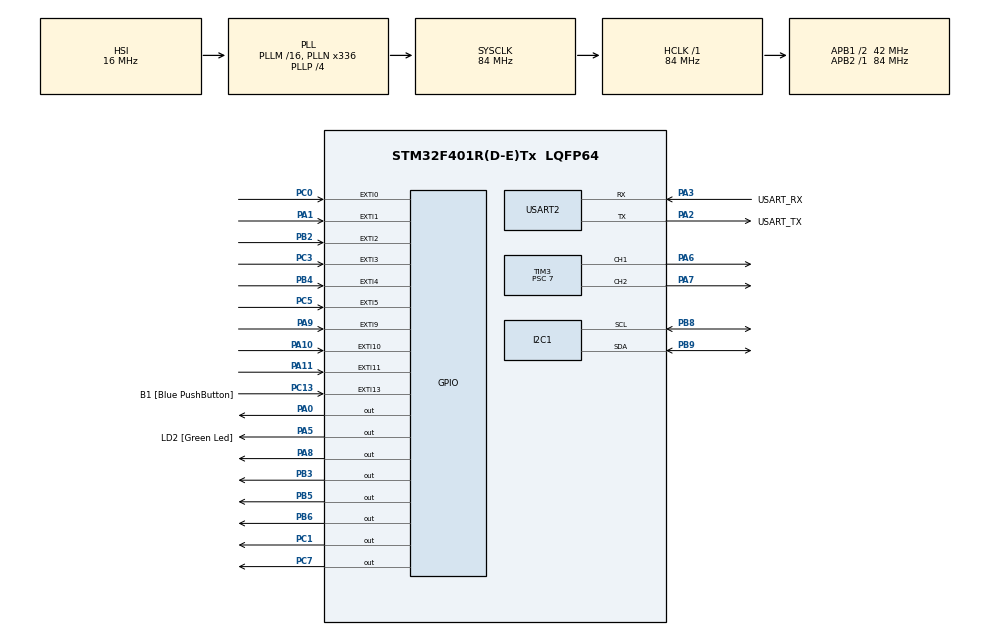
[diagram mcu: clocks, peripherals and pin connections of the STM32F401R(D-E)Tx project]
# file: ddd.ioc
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Mcu.Family=STM32F4
Mcu.Name=STM32F401R(D-E)Tx
Mcu.Package=LQFP64
NVIC.EXTI0_IRQn=true\:0\:0\:false\:true\:true\:6\:true
NVIC.EXTI15_10_IRQn=true\:0\:0\:false\:true\:true\:8\:true
NVIC.EXTI1_IRQn=true\:0\:0\:false\:true\:true\:2\:true
NVIC.EXTI2_IRQn=true\:0\:0\:false\:true\:true\:4\:true
NVIC.EXTI3_IRQn=true\:0\:0\:false\:true\:true\:3\:true
NVIC.EXTI4_IRQn=true\:0\:0\:false\:true\:true\:5\:true
NVIC.EXTI9_5_IRQn=true\:0\:0\:false\:true\:true\:7\:true
NVIC.PriorityGroup=NVIC_PRIORITYGROUP_4
NVIC.TIM1_UP_TIM10_IRQn=true\:0\:0\:false\:true\:true\:1\:true
PA0-WKUP.Signal=GPIO_Output
PA1.GPIO_ModeDefaultEXTI=GPIO_MODE_IT_RISING_FALLING
PA1.Signal=GPXTI1
PA10.GPIO_ModeDefaultEXTI=GPIO_MODE_IT_RISING
PA10.Signal=GPXTI10
PA11.Signal=GPXTI11
PA13.GPIO_Label=TMS
PA13.Mode=Serial_Wire
PA13.Signal=SYS_JTMS-SWDIO
PA14.GPIO_Label=TCK
PA14.Mode=Serial_Wire
PA14.Signal=SYS_JTCK-SWCLK
PA2.GPIO_Label=USART_TX
PA2.GPIO_Mode=GPIO_MODE_AF_PP
PA2.GPIO_PuPd=GPIO_NOPULL
PA2.GPIO_Speed=GPIO_SPEED_FREQ_LOW
PA2.Mode=Asynchronous
PA2.Signal=USART2_TX
PA3.GPIO_Label=USART_RX
PA3.GPIO_Mode=GPIO_MODE_AF_PP
PA3.GPIO_PuPd=GPIO_NOPULL
PA3.GPIO_Speed=GPIO_SPEED_FREQ_LOW
PA3.Mode=Asynchronous
PA3.Signal=USART2_RX
PA5.GPIO_Label=LD2 [Green Led]
PA5.GPIO_Mode=GPIO_MODE_OUTPUT_PP
PA5.GPIO_PuPd=GPIO_NOPULL
PA5.GPIO_Speed=GPIO_SPEED_FREQ_LOW
PA5.Signal=GPIO_Output
PA6.Signal=S_TIM3_CH1
PA7.Signal=S_TIM3_CH2
PA8.Signal=GPIO_Output
PA9.GPIO_ModeDefaultEXTI=GPIO_MODE_IT_RISING
PA9.Signal=GPXTI9
PB2.GPIO_ModeDefaultEXTI=GPIO_MODE_IT_RISING_FALLING
PB2.Signal=GPXTI2
PB3.Signal=GPIO_Output
PB4.GPIO_ModeDefaultEXTI=GPIO_MODE_IT_RISING_FALLING
PB4.Signal=GPXTI4
PB5.Signal=GPIO_Output
PB6.GPIO_Speed=GPIO_SPEED_FREQ_HIGH
PB6.Signal=GPIO_Output
PB8.Mode=I2C
PB8.Signal=I2C1_SCL
PB9.Mode=I2C
PB9.Signal=I2C1_SDA
PC0.GPIO_ModeDefaultEXTI=GPIO_MODE_IT_RISING_FALLING
PC0.Signal=GPXTI0
PC1.Signal=GPIO_Output
PC13-ANTI_TAMP.GPIO_Label=B1 [Blue PushButton]
PC13-ANTI_TAMP.GPIO_ModeDefaultEXTI=GPIO_MODE_IT_FALLING
PC13-ANTI_TAMP.GPIO_PuPd=GPIO_NOPULL
PC13-ANTI_TAMP.Signal=GPXTI13
PC14-OSC32_IN.Mode=LSE-External-Oscillator
PC14-OSC32_IN.Signal=RCC_OSC32_IN
PC15-OSC32_OUT.Mode=LSE-External-Oscillator
PC15-OSC32_OUT.Signal=RCC_OSC32_OUT
PC3.GPIO_ModeDefaultEXTI=GPIO_MODE_IT_RISING
PC3.Signal=GPXTI3
PC5.GPIO_ModeDefaultEXTI=GPIO_MODE_IT_RISING
PC5.Signal=GPXTI5
PC7.PinState=GPIO_PIN_SET
PC7.Signal=GPIO_Output
PH0\ -\ OSC_IN.Mode=HSE-External-Clock-Source
PH0\ -\ OSC_IN.Signal=RCC_OSC_IN
PH1\ -\ OSC_OUT.Mode=HSE-External-Clock-Source
PH1\ -\ OSC_OUT.Signal=RCC_OSC_OUT
ProjectManager.HeapSize=0x200
ProjectManager.StackSize=0x400
ProjectManager.TargetToolchain=TrueSTUDIO
RCC.48MHZClocksFreq_Value=48000000
RCC.AHBFreq_Value=84000000
RCC.APB1CLKDivider=RCC_HCLK_DIV2
RCC.APB1Freq_Value=42000000
RCC.APB1TimFreq_Value=84000000
RCC.APB2Freq_Value=84000000
RCC.APB2TimFreq_Value=84000000
RCC.CortexFreq_Value=84000000
RCC.HCLKFreq_Value=84000000
RCC.HSE_VALUE=8000000
RCC.HSI_VALUE=16000000
RCC.PLLN=336
RCC.PLLP=RCC_PLLP_DIV4
RCC.PLLQ=7
RCC.SYSCLKFreq_VALUE=84000000
RCC.SYSCLKSource=RCC_SYSCLKSOURCE_PLLCLK
RCC.VCOOutputFreq_Value=336000000
SH.S_TIM3_CH1.0=TIM3_CH1,PWM Generation1 CH1
SH.S_TIM3_CH2.0=TIM3_CH2,PWM Generation2 CH2
TIM1.Period=10000
TIM1.Prescaler=8400
TIM2.Period=4294967295
TIM2.Prescaler=840
TIM3.Channel-PWM\ Generation1\ CH1=TIM_CHANNEL_1
TIM3.Channel-PWM\ Generation2\ CH2=TIM_CHANNEL_2
TIM3.OCPolarity_1=TIM_OCPOLARITY_HIGH
TIM3.OCPolarity_2=TIM_OCPOLARITY_HIGH
TIM3.Period=4000
TIM3.Prescaler=7
TIM3.Pulse-PWM\ Generation1\ CH1=2000
TIM3.Pulse-PWM\ Generation2\ CH2=2000
TIM4.Period=65535
TIM4.Prescaler=840
TIM5.Period=4294967295
TIM5.Prescaler=840
USART2.VirtualMode=VM_ASYNC
VP_TIM1_VS_ClockSourceINT.Mode=Internal
VP_TIM2_VS_ClockSourceINT.Mode=Internal
VP_TIM3_VS_ClockSourceINT.Mode=Internal
VP_TIM4_VS_ClockSourceINT.Mode=Internal
VP_TIM5_VS_ClockSourceINT.Mode=Internal
board=NUCLEO-F401RE

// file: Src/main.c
/**
  ******************************************************************************
  * @file           : main.c
  * @brief          : Main program body
  ******************************************************************************
  ** This notice applies to any and all portions of this file
  * that are not between comment pairs USER CODE BEGIN and
  * USER CODE END. Other portions of this file, whether
  * inserted by the user or by software development tools
  * are owned by their respective copyright owners.
  *
  * COPYRIGHT(c) 2018 STMicroelectronics
  *
  * Redistribution and use in source and binary forms, with or without modification,
  * are permitted provided that the following conditions are met:
  *   1. Redistributions of source code must retain the above copyright notice,
  *      this list of conditions and the following disclaimer.
  *   2. Redistributions in binary form must reproduce the above copyright notice,
  *      this list of conditions and the following disclaimer in the documentation
  *      and/or other materials provided with the distribution.
  *   3. Neither the name of STMicroelectronics nor the names of its contributors
  *      may be used to endorse or promote products derived from this software
  *      without specific prior written permission.
  *
  * THIS SOFTWARE IS PROVIDED BY THE COPYRIGHT HOLDERS AND CONTRIBUTORS "AS IS"
  * AND ANY EXPRESS OR IMPLIED WARRANTIES, INCLUDING, BUT NOT LIMITED TO, THE
  * IMPLIED WARRANTIES OF MERCHANTABILITY AND FITNESS FOR A PARTICULAR PURPOSE ARE
  * DISCLAIMED. IN NO EVENT SHALL THE COPYRIGHT HOLDER OR CONTRIBUTORS BE LIABLE
  * FOR ANY DIRECT, INDIRECT, INCIDENTAL, SPECIAL, EXEMPLARY, OR CONSEQUENTIAL
  * DAMAGES (INCLUDING, BUT NOT LIMITED TO, PROCUREMENT OF SUBSTITUTE GOODS OR
  * SERVICES; LOSS OF USE, DATA, OR PROFITS; OR BUSINESS INTERRUPTION) HOWEVER
  * CAUSED AND ON ANY THEORY OF LIABILITY, WHETHER IN CONTRACT, STRICT LIABILITY,
  * OR TORT (INCLUDING NEGLIGENCE OR OTHERWISE) ARISING IN ANY WAY OUT OF THE USE
  * OF THIS SOFTWARE, EVEN IF ADVISED OF THE POSSIBILITY OF SUCH DAMAGE.
  *
  ******************************************************************************
  */
#include "main.h"
#include "stm32f4xx_hal.h"

/* USER CODE BEGIN Includes */
#include "arm_math.h"
#include "movement.h"
#define MAG_ADDR 0x3C
#define ACC_ADDR 0x32
#define CRA_REG_M 0x00
#define MR_REG_M 0x02
#define CTRL_REG1_A 0x20
#define CTRL_REG4_A 0x23
/* USER CODE END Includes */

I2C_HandleTypeDef hi2c1;

TIM_HandleTypeDef htim1;
TIM_HandleTypeDef htim2;
TIM_HandleTypeDef htim3;
TIM_HandleTypeDef htim4;
TIM_HandleTypeDef htim5;

UART_HandleTypeDef huart2;

/* USER CODE BEGIN PV */
/* Private variables ---------------------------------------------------------*/
unsigned char temp;
int8_t MR_Data[6];
int Mx, My, Mz;
double dir;
uint16_t mag_dev_addr=0x3C;
uint8_t mag_reg_add=0x02;
volatile float dist0,dist1,dist4;
volatile uint32_t count;
uint32_t vari;
volatile uint8_t attac=1;
extern uint8_t turning;
int fake_flag=0,fake_timer;
volatile uint8_t avoidance_on=1;
/* USER CODE END PV */

void SystemClock_Config(void);
static void MX_GPIO_Init(void);
static void MX_USART2_UART_Init(void);
static void MX_I2C1_Init(void);
static void MX_TIM3_Init(void);
static void MX_TIM1_Init(void);
static void MX_TIM2_Init(void);
static void MX_TIM4_Init(void);
static void MX_TIM5_Init(void);
static void MX_NVIC_Init(void);

void HAL_TIM_MspPostInit(TIM_HandleTypeDef *htim);

/* USER CODE BEGIN PFP */
/* Private function prototypes -----------------------------------------------*/
void read_reg_I2C(uint16_t dev_addr,uint8_t addr, uint8_t *data){
	HAL_I2C_Master_Transmit(&hi2c1,dev_addr,&addr,1,HAL_MAX_DELAY);
	HAL_I2C_Master_Receive(&hi2c1,dev_addr,data,sizeof(data),HAL_MAX_DELAY);
}

void write_reg_I2C(uint16_t dev_addr,uint8_t addr,uint8_t data){
	uint8_t buffer[2];
	buffer[0]=addr;
	buffer[1]=data;
	HAL_I2C_Master_Transmit(&hi2c1,dev_addr,buffer,2,HAL_MAX_DELAY);
}

void set_mag(void){
	write_reg_I2C(0x3C,0x00,0x14);
	write_reg_I2C(0x3C,0x02,0x00);
	  //write_reg_I2C(0x3C,0x01,0xE0);
}

void get_mag(void){
	HAL_I2C_Master_Transmit(&hi2c1,0x3C,&mag_reg_add,1,HAL_MAX_DELAY);
	HAL_I2C_Master_Receive(&hi2c1,0x3C,&temp,1,HAL_MAX_DELAY);
	HAL_I2C_Master_Receive(&hi2c1,0x3C,MR_Data,sizeof(MR_Data),HAL_MAX_DELAY);

	Mx = (int) (MR_Data[0] << 8) + MR_Data[1];
	My = (int) (MR_Data[2] << 8) + MR_Data[3];
	Mz = (int) (MR_Data[4] << 8) + MR_Data[5];
	dir=180* atan2((double) My,(double) Mx)/M_PI;
}

void set_pwm_ch1(int value){
	TIM_OC_InitTypeDef sConfigOC;
	sConfigOC.OCMode = TIM_OCMODE_PWM1;
	sConfigOC.Pulse = value;
	sConfigOC.OCPolarity = TIM_OCPOLARITY_HIGH;
	sConfigOC.OCFastMode = TIM_OCFAST_DISABLE;
	if (HAL_TIM_PWM_ConfigChannel(&htim3, &sConfigOC, TIM_CHANNEL_1) != HAL_OK)
	{
	  _Error_Handler(__FILE__, __LINE__);
	}
	HAL_TIM_PWM_Start(&htim3, TIM_CHANNEL_1);
}

void set_pwm_ch2(int value){
	TIM_OC_InitTypeDef sConfigOC;

	sConfigOC.OCMode = TIM_OCMODE_PWM1;
	sConfigOC.Pulse = value;
	sConfigOC.OCPolarity = TIM_OCPOLARITY_HIGH;
	sConfigOC.OCFastMode = TIM_OCFAST_DISABLE;
	if (HAL_TIM_PWM_ConfigChannel(&htim3, &sConfigOC, TIM_CHANNEL_2) != HAL_OK)
	{
	  _Error_Handler(__FILE__, __LINE__);
	}
	HAL_TIM_PWM_Start(&htim3, TIM_CHANNEL_2);
}

void send_sonar_pulse(void){

	HAL_GPIO_WritePin(GPIOA,GPIO_PIN_0,GPIO_PIN_SET); //positive edge of pulse
	__HAL_TIM_SET_COUNTER(&htim2,0); //set counter to 0
	HAL_TIM_Base_Start(&htim2); //start counter, maybe not needed?
	while(1){
		if(__HAL_TIM_GET_COUNTER(&htim2)==1){ //timer is prescaled so that 1 count is 10us
			HAL_GPIO_WritePin(GPIOA,GPIO_PIN_0,GPIO_PIN_RESET); //pulse negative edge
			HAL_TIM_Base_Stop(&htim2);
			break;
		}
	}
	HAL_NVIC_EnableIRQ(EXTI1_IRQn);

}

void send_sonar_pulse2(void){

	HAL_GPIO_WritePin(GPIOA,GPIO_PIN_8,GPIO_PIN_SET); //positive edge of pulse
	__HAL_TIM_SET_COUNTER(&htim4,0); //set counter to 0
	HAL_TIM_Base_Start(&htim4); //start counter, maybe not needed?
	while(1){
		if(__HAL_TIM_GET_COUNTER(&htim4)==1){ //timer is prescaled so that 1 count is 10us
			HAL_GPIO_WritePin(GPIOA,GPIO_PIN_8,GPIO_PIN_RESET); //pulse negative edge
			HAL_TIM_Base_Stop(&htim4);
			break;
		}
	}
	HAL_NVIC_EnableIRQ(EXTI4_IRQn);
}

void send_sonar_pulse3(void){

	HAL_GPIO_WritePin(GPIOC,GPIO_PIN_1,GPIO_PIN_SET); //positive edge of pulse
	__HAL_TIM_SET_COUNTER(&htim5,0); //set counter to 0
	HAL_TIM_Base_Start(&htim5); //start counter, maybe not needed?
	while(1){
		if(__HAL_TIM_GET_COUNTER(&htim5)==1){ //timer is prescaled so that 1 count is 10us
			HAL_GPIO_WritePin(GPIOC,GPIO_PIN_1,GPIO_PIN_RESET); //pulse negative edge
			HAL_TIM_Base_Stop(&htim5);
			break;
		}
	}
	HAL_NVIC_EnableIRQ(EXTI0_IRQn);
}

/* USER CODE END PFP */

int main(void)
{

  /* MCU Configuration----------------------------------------------------------*/

  /* Reset of all peripherals, Initializes the Flash interface and the Systick. */
  HAL_Init();

  /* Configure the system clock */
  SystemClock_Config();

  /* Initialize all configured peripherals */
  MX_GPIO_Init();
  MX_USART2_UART_Init();
  MX_I2C1_Init();
  MX_TIM3_Init();
  MX_TIM1_Init();
  MX_TIM2_Init();
  MX_TIM4_Init();
  MX_TIM5_Init();

  /* Initialize interrupts */
  MX_NVIC_Init();
  /* USER CODE BEGIN 2 */
  HAL_NVIC_DisableIRQ(EXTI0_IRQn);//sonar
  HAL_NVIC_DisableIRQ(EXTI1_IRQn);//sonar
  HAL_NVIC_DisableIRQ(EXTI4_IRQn);//sonar

  HAL_NVIC_DisableIRQ(EXTI2_IRQn);//photodiode

  HAL_NVIC_DisableIRQ(EXTI3_IRQn);//photodiode
  HAL_NVIC_DisableIRQ(EXTI9_5_IRQn);//photodiode
  HAL_NVIC_DisableIRQ(EXTI15_10_IRQn);//photodiode

  //HAL_NVIC_EnableIRQ(EXTI2_IRQn);//photodiode
  HAL_NVIC_EnableIRQ(EXTI3_IRQn);//photodiode
  HAL_NVIC_EnableIRQ(EXTI9_5_IRQn);//photodiode
  HAL_NVIC_EnableIRQ(EXTI15_10_IRQn);//photodiode
//  set_mag(); //setup compass through I2C
  /* USER CODE END 2 */

  /* Infinite loop */
  /* USER CODE BEGIN WHILE */
  HAL_TIM_PWM_Start(&htim3, TIM_CHANNEL_1); //start pwm
  HAL_TIM_PWM_Start(&htim3, TIM_CHANNEL_2); //start pwm
//  if( HAL_TIM_Base_Start_IT(&htim1) != HAL_OK){
//	  _Error_Handler(__FILE__, __LINE__);
//  }
  set_pwm_ch1(3000);
  set_pwm_ch2(3000);
  HAL_GPIO_WritePin(GPIOC,GPIO_PIN_7,GPIO_PIN_RESET);
  HAL_GPIO_WritePin(GPIOB,GPIO_PIN_6,GPIO_PIN_RESET);
  turning=0;
  dist0=10;
  dist1=10;
  dist4=10;

  while (1)
  {
//	  fire();
//	  get_mag(); //get data from compass through I2C
//	  HAL_UART_Transmit(&huart2,MR_Data,sizeof(MR_Data),HAL_TIMEOUT); // send data to PC

	  send_sonar_pulse2();
	  HAL_Delay(10);
	  send_sonar_pulse();
	  HAL_Delay(10);
	  send_sonar_pulse3();
	  HAL_Delay(10);

	  if (avoidance_on){
		  avoid();
	  }
	  else{
		  check_fire();
	  }
//	  check_fire();
//	  fake_timer++;
//	  if(fake_timer>=200){
//		  fake_flag=1;
//	  }

	  //HAL_GPIO_TogglePin(GPIOA,LD2_Pin);

//	  if(HAL_GPIO_ReadPin(GPIOC,GPIO_PIN_3)==GPIO_PIN_SET){
//		  HAL_GPIO_WritePin(GPIOA,LD2_Pin,GPIO_PIN_SET);
//	  }
//	  else{
//		  HAL_GPIO_WritePin(GPIOA,LD2_Pin,GPIO_PIN_RESET);
//	  }

	  //HAL_GPIO_TogglePin(GPIOA,LD2_Pin);
  /* USER CODE END WHILE */

  }

}

void SystemClock_Config(void)
{

  RCC_OscInitTypeDef RCC_OscInitStruct;
  RCC_ClkInitTypeDef RCC_ClkInitStruct;

    /**Configure the main internal regulator output voltage
    */
  __HAL_RCC_PWR_CLK_ENABLE();

  __HAL_PWR_VOLTAGESCALING_CONFIG(PWR_REGULATOR_VOLTAGE_SCALE2);

    /**Initializes the CPU, AHB and APB busses clocks
    */
  RCC_OscInitStruct.OscillatorType = RCC_OSCILLATORTYPE_HSI;
  RCC_OscInitStruct.HSIState = RCC_HSI_ON;
  RCC_OscInitStruct.HSICalibrationValue = 16;
  RCC_OscInitStruct.PLL.PLLState = RCC_PLL_ON;
  RCC_OscInitStruct.PLL.PLLSource = RCC_PLLSOURCE_HSI;
  RCC_OscInitStruct.PLL.PLLM = 16;
  RCC_OscInitStruct.PLL.PLLN = 336;
  RCC_OscInitStruct.PLL.PLLP = RCC_PLLP_DIV4;
  RCC_OscInitStruct.PLL.PLLQ = 7;
  if (HAL_RCC_OscConfig(&RCC_OscInitStruct) != HAL_OK)
  {
    _Error_Handler(__FILE__, __LINE__);
  }

    /**Initializes the CPU, AHB and APB busses clocks
    */
  RCC_ClkInitStruct.ClockType = RCC_CLOCKTYPE_HCLK|RCC_CLOCKTYPE_SYSCLK
                              |RCC_CLOCKTYPE_PCLK1|RCC_CLOCKTYPE_PCLK2;
  RCC_ClkInitStruct.SYSCLKSource = RCC_SYSCLKSOURCE_PLLCLK;
  RCC_ClkInitStruct.AHBCLKDivider = RCC_SYSCLK_DIV1;
  RCC_ClkInitStruct.APB1CLKDivider = RCC_HCLK_DIV2;
  RCC_ClkInitStruct.APB2CLKDivider = RCC_HCLK_DIV1;

  if (HAL_RCC_ClockConfig(&RCC_ClkInitStruct, FLASH_LATENCY_2) != HAL_OK)
  {
    _Error_Handler(__FILE__, __LINE__);
  }

    /**Configure the Systick interrupt time
    */
  HAL_SYSTICK_Config(HAL_RCC_GetHCLKFreq()/1000);

    /**Configure the Systick
    */
  HAL_SYSTICK_CLKSourceConfig(SYSTICK_CLKSOURCE_HCLK);

  /* SysTick_IRQn interrupt configuration */
  HAL_NVIC_SetPriority(SysTick_IRQn, 0, 0);
}

/**
  * @brief NVIC Configuration.
  * @retval None
  */
static void MX_NVIC_Init(void)
{
  /* TIM1_UP_TIM10_IRQn interrupt configuration */
  HAL_NVIC_SetPriority(TIM1_UP_TIM10_IRQn, 0, 0);
  HAL_NVIC_EnableIRQ(TIM1_UP_TIM10_IRQn);
  /* EXTI1_IRQn interrupt configuration */
  HAL_NVIC_SetPriority(EXTI1_IRQn, 0, 0);
  HAL_NVIC_EnableIRQ(EXTI1_IRQn);
  /* EXTI3_IRQn interrupt configuration */
  HAL_NVIC_SetPriority(EXTI3_IRQn, 0, 0);
  HAL_NVIC_EnableIRQ(EXTI3_IRQn);
  /* EXTI2_IRQn interrupt configuration */
  HAL_NVIC_SetPriority(EXTI2_IRQn, 0, 0);
  HAL_NVIC_EnableIRQ(EXTI2_IRQn);
  /* EXTI4_IRQn interrupt configuration */
  HAL_NVIC_SetPriority(EXTI4_IRQn, 0, 0);
  HAL_NVIC_EnableIRQ(EXTI4_IRQn);
  /* EXTI0_IRQn interrupt configuration */
  HAL_NVIC_SetPriority(EXTI0_IRQn, 0, 0);
  HAL_NVIC_EnableIRQ(EXTI0_IRQn);
  /* EXTI9_5_IRQn interrupt configuration */
  HAL_NVIC_SetPriority(EXTI9_5_IRQn, 0, 0);
  HAL_NVIC_EnableIRQ(EXTI9_5_IRQn);
  /* EXTI15_10_IRQn interrupt configuration */
  HAL_NVIC_SetPriority(EXTI15_10_IRQn, 0, 0);
  HAL_NVIC_EnableIRQ(EXTI15_10_IRQn);
}

/* I2C1 init function */
static void MX_I2C1_Init(void)
{

  hi2c1.Instance = I2C1;
  hi2c1.Init.ClockSpeed = 100000;
  hi2c1.Init.DutyCycle = I2C_DUTYCYCLE_2;
  hi2c1.Init.OwnAddress1 = 0;
  hi2c1.Init.AddressingMode = I2C_ADDRESSINGMODE_7BIT;
  hi2c1.Init.DualAddressMode = I2C_DUALADDRESS_DISABLE;
  hi2c1.Init.OwnAddress2 = 0;
  hi2c1.Init.GeneralCallMode = I2C_GENERALCALL_DISABLE;
  hi2c1.Init.NoStretchMode = I2C_NOSTRETCH_DISABLE;
  if (HAL_I2C_Init(&hi2c1) != HAL_OK)
  {
    _Error_Handler(__FILE__, __LINE__);
  }

}

/* TIM1 init function */
static void MX_TIM1_Init(void)
{

  TIM_ClockConfigTypeDef sClockSourceConfig;
  TIM_MasterConfigTypeDef sMasterConfig;

  htim1.Instance = TIM1;
  htim1.Init.Prescaler = 8400;
  htim1.Init.CounterMode = TIM_COUNTERMODE_UP;
  htim1.Init.Period = 10000;
  htim1.Init.ClockDivision = TIM_CLOCKDIVISION_DIV1;
  htim1.Init.RepetitionCounter = 0;
  if (HAL_TIM_Base_Init(&htim1) != HAL_OK)
  {
    _Error_Handler(__FILE__, __LINE__);
  }

  sClockSourceConfig.ClockSource = TIM_CLOCKSOURCE_INTERNAL;
  if (HAL_TIM_ConfigClockSource(&htim1, &sClockSourceConfig) != HAL_OK)
  {
    _Error_Handler(__FILE__, __LINE__);
  }

  sMasterConfig.MasterOutputTrigger = TIM_TRGO_RESET;
  sMasterConfig.MasterSlaveMode = TIM_MASTERSLAVEMODE_DISABLE;
  if (HAL_TIMEx_MasterConfigSynchronization(&htim1, &sMasterConfig) != HAL_OK)
  {
    _Error_Handler(__FILE__, __LINE__);
  }

}

/* TIM2 init function */
static void MX_TIM2_Init(void)
{

  TIM_ClockConfigTypeDef sClockSourceConfig;
  TIM_MasterConfigTypeDef sMasterConfig;

  htim2.Instance = TIM2;
  htim2.Init.Prescaler = 840;
  htim2.Init.CounterMode = TIM_COUNTERMODE_UP;
  htim2.Init.Period = 4294967295;
  htim2.Init.ClockDivision = TIM_CLOCKDIVISION_DIV1;
  if (HAL_TIM_Base_Init(&htim2) != HAL_OK)
  {
    _Error_Handler(__FILE__, __LINE__);
  }

  sClockSourceConfig.ClockSource = TIM_CLOCKSOURCE_INTERNAL;
  if (HAL_TIM_ConfigClockSource(&htim2, &sClockSourceConfig) != HAL_OK)
  {
    _Error_Handler(__FILE__, __LINE__);
  }

  sMasterConfig.MasterOutputTrigger = TIM_TRGO_RESET;
  sMasterConfig.MasterSlaveMode = TIM_MASTERSLAVEMODE_DISABLE;
  if (HAL_TIMEx_MasterConfigSynchronization(&htim2, &sMasterConfig) != HAL_OK)
  {
    _Error_Handler(__FILE__, __LINE__);
  }

}

/* TIM3 init function */
static void MX_TIM3_Init(void)
{

  TIM_ClockConfigTypeDef sClockSourceConfig;
  TIM_MasterConfigTypeDef sMasterConfig;
  TIM_OC_InitTypeDef sConfigOC;

  htim3.Instance = TIM3;
  htim3.Init.Prescaler = 7;
  htim3.Init.CounterMode = TIM_COUNTERMODE_UP;
  htim3.Init.Period = 4000;
  htim3.Init.ClockDivision = TIM_CLOCKDIVISION_DIV1;
  if (HAL_TIM_Base_Init(&htim3) != HAL_OK)
  {
    _Error_Handler(__FILE__, __LINE__);
  }

  sClockSourceConfig.ClockSource = TIM_CLOCKSOURCE_INTERNAL;
  if (HAL_TIM_ConfigClockSource(&htim3, &sClockSourceConfig) != HAL_OK)
  {
    _Error_Handler(__FILE__, __LINE__);
  }

  if (HAL_TIM_PWM_Init(&htim3) != HAL_OK)
  {
    _Error_Handler(__FILE__, __LINE__);
  }

  sMasterConfig.MasterOutputTrigger = TIM_TRGO_RESET;
  sMasterConfig.MasterSlaveMode = TIM_MASTERSLAVEMODE_DISABLE;
  if (HAL_TIMEx_MasterConfigSynchronization(&htim3, &sMasterConfig) != HAL_OK)
  {
    _Error_Handler(__FILE__, __LINE__);
  }

  sConfigOC.OCMode = TIM_OCMODE_PWM1;
  sConfigOC.Pulse = 2000;
  sConfigOC.OCPolarity = TIM_OCPOLARITY_HIGH;
  sConfigOC.OCFastMode = TIM_OCFAST_DISABLE;
  if (HAL_TIM_PWM_ConfigChannel(&htim3, &sConfigOC, TIM_CHANNEL_1) != HAL_OK)
  {
    _Error_Handler(__FILE__, __LINE__);
  }

  if (HAL_TIM_PWM_ConfigChannel(&htim3, &sConfigOC, TIM_CHANNEL_2) != HAL_OK)
  {
    _Error_Handler(__FILE__, __LINE__);
  }

  HAL_TIM_MspPostInit(&htim3);

}

/* TIM4 init function */
static void MX_TIM4_Init(void)
{

  TIM_ClockConfigTypeDef sClockSourceConfig;
  TIM_MasterConfigTypeDef sMasterConfig;

  htim4.Instance = TIM4;
  htim4.Init.Prescaler = 840;
  htim4.Init.CounterMode = TIM_COUNTERMODE_UP;
  htim4.Init.Period = 65535;
  htim4.Init.ClockDivision = TIM_CLOCKDIVISION_DIV1;
  if (HAL_TIM_Base_Init(&htim4) != HAL_OK)
  {
    _Error_Handler(__FILE__, __LINE__);
  }

  sClockSourceConfig.ClockSource = TIM_CLOCKSOURCE_INTERNAL;
  if (HAL_TIM_ConfigClockSource(&htim4, &sClockSourceConfig) != HAL_OK)
  {
    _Error_Handler(__FILE__, __LINE__);
  }

  sMasterConfig.MasterOutputTrigger = TIM_TRGO_RESET;
  sMasterConfig.MasterSlaveMode = TIM_MASTERSLAVEMODE_DISABLE;
  if (HAL_TIMEx_MasterConfigSynchronization(&htim4, &sMasterConfig) != HAL_OK)
  {
    _Error_Handler(__FILE__, __LINE__);
  }

}

/* TIM5 init function */
static void MX_TIM5_Init(void)
{

  TIM_ClockConfigTypeDef sClockSourceConfig;
  TIM_MasterConfigTypeDef sMasterConfig;

  htim5.Instance = TIM5;
  htim5.Init.Prescaler = 840;
  htim5.Init.CounterMode = TIM_COUNTERMODE_UP;
  htim5.Init.Period = 4294967295;
  htim5.Init.ClockDivision = TIM_CLOCKDIVISION_DIV1;
  if (HAL_TIM_Base_Init(&htim5) != HAL_OK)
  {
    _Error_Handler(__FILE__, __LINE__);
  }

  sClockSourceConfig.ClockSource = TIM_CLOCKSOURCE_INTERNAL;
  if (HAL_TIM_ConfigClockSource(&htim5, &sClockSourceConfig) != HAL_OK)
  {
    _Error_Handler(__FILE__, __LINE__);
  }

  sMasterConfig.MasterOutputTrigger = TIM_TRGO_RESET;
  sMasterConfig.MasterSlaveMode = TIM_MASTERSLAVEMODE_DISABLE;
  if (HAL_TIMEx_MasterConfigSynchronization(&htim5, &sMasterConfig) != HAL_OK)
  {
    _Error_Handler(__FILE__, __LINE__);
  }

}

/* USART2 init function */
static void MX_USART2_UART_Init(void)
{

  huart2.Instance = USART2;
  huart2.Init.BaudRate = 115200;
  huart2.Init.WordLength = UART_WORDLENGTH_8B;
  huart2.Init.StopBits = UART_STOPBITS_1;
  huart2.Init.Parity = UART_PARITY_NONE;
  huart2.Init.Mode = UART_MODE_TX_RX;
  huart2.Init.HwFlowCtl = UART_HWCONTROL_NONE;
  huart2.Init.OverSampling = UART_OVERSAMPLING_16;
  if (HAL_UART_Init(&huart2) != HAL_OK)
  {
    _Error_Handler(__FILE__, __LINE__);
  }

}

/** Configure pins as
        * Analog
        * Input
        * Output
        * EVENT_OUT
        * EXTI
*/
static void MX_GPIO_Init(void)
{

  GPIO_InitTypeDef GPIO_InitStruct;

  /* GPIO Ports Clock Enable */
  __HAL_RCC_GPIOC_CLK_ENABLE();
  __HAL_RCC_GPIOH_CLK_ENABLE();
  __HAL_RCC_GPIOA_CLK_ENABLE();
  __HAL_RCC_GPIOB_CLK_ENABLE();

  /*Configure GPIO pin Output Level */
  HAL_GPIO_WritePin(GPIOC, GPIO_PIN_1, GPIO_PIN_RESET);

  /*Configure GPIO pin Output Level */
  HAL_GPIO_WritePin(GPIOA, GPIO_PIN_0|LD2_Pin|GPIO_PIN_8, GPIO_PIN_RESET);

  /*Configure GPIO pin Output Level */
  HAL_GPIO_WritePin(GPIOC, GPIO_PIN_7, GPIO_PIN_SET);

  /*Configure GPIO pin Output Level */
  HAL_GPIO_WritePin(GPIOB, GPIO_PIN_3|GPIO_PIN_5|GPIO_PIN_6, GPIO_PIN_RESET);

  /*Configure GPIO pin : B1_Pin */
  GPIO_InitStruct.Pin = B1_Pin;
  GPIO_InitStruct.Mode = GPIO_MODE_IT_FALLING;
  GPIO_InitStruct.Pull = GPIO_NOPULL;
  HAL_GPIO_Init(B1_GPIO_Port, &GPIO_InitStruct);

  /*Configure GPIO pin : PC0 */
  GPIO_InitStruct.Pin = GPIO_PIN_0;
  GPIO_InitStruct.Mode = GPIO_MODE_IT_RISING_FALLING;
  GPIO_InitStruct.Pull = GPIO_NOPULL;
  HAL_GPIO_Init(GPIOC, &GPIO_InitStruct);

  /*Configure GPIO pins : PC1 PC7 */
  GPIO_InitStruct.Pin = GPIO_PIN_1|GPIO_PIN_7;
  GPIO_InitStruct.Mode = GPIO_MODE_OUTPUT_PP;
  GPIO_InitStruct.Pull = GPIO_NOPULL;
  GPIO_InitStruct.Speed = GPIO_SPEED_FREQ_LOW;
  HAL_GPIO_Init(GPIOC, &GPIO_InitStruct);

  /*Configure GPIO pins : PC3 PC5 */
  GPIO_InitStruct.Pin = GPIO_PIN_3|GPIO_PIN_5;
  GPIO_InitStruct.Mode = GPIO_MODE_IT_RISING;
  GPIO_InitStruct.Pull = GPIO_NOPULL;
  HAL_GPIO_Init(GPIOC, &GPIO_InitStruct);

  /*Configure GPIO pins : PA0 LD2_Pin PA8 */
  GPIO_InitStruct.Pin = GPIO_PIN_0|LD2_Pin|GPIO_PIN_8;
  GPIO_InitStruct.Mode = GPIO_MODE_OUTPUT_PP;
  GPIO_InitStruct.Pull = GPIO_NOPULL;
  GPIO_InitStruct.Speed = GPIO_SPEED_FREQ_LOW;
  HAL_GPIO_Init(GPIOA, &GPIO_InitStruct);

  /*Configure GPIO pin : PA1 */
  GPIO_InitStruct.Pin = GPIO_PIN_1;
  GPIO_InitStruct.Mode = GPIO_MODE_IT_RISING_FALLING;
  GPIO_InitStruct.Pull = GPIO_NOPULL;
  HAL_GPIO_Init(GPIOA, &GPIO_InitStruct);

  /*Configure GPIO pins : PB2 PB4 */
  GPIO_InitStruct.Pin = GPIO_PIN_2|GPIO_PIN_4;
  GPIO_InitStruct.Mode = GPIO_MODE_IT_RISING_FALLING;
  GPIO_InitStruct.Pull = GPIO_NOPULL;
  HAL_GPIO_Init(GPIOB, &GPIO_InitStruct);

  /*Configure GPIO pins : PA9 PA10 PA11 */
  GPIO_InitStruct.Pin = GPIO_PIN_9|GPIO_PIN_10|GPIO_PIN_11;
  GPIO_InitStruct.Mode = GPIO_MODE_IT_RISING;
  GPIO_InitStruct.Pull = GPIO_NOPULL;
  HAL_GPIO_Init(GPIOA, &GPIO_InitStruct);

  /*Configure GPIO pins : PB3 PB5 */
  GPIO_InitStruct.Pin = GPIO_PIN_3|GPIO_PIN_5;
  GPIO_InitStruct.Mode = GPIO_MODE_OUTPUT_PP;
  GPIO_InitStruct.Pull = GPIO_NOPULL;
  GPIO_InitStruct.Speed = GPIO_SPEED_FREQ_LOW;
  HAL_GPIO_Init(GPIOB, &GPIO_InitStruct);

  /*Configure GPIO pin : PB6 */
  GPIO_InitStruct.Pin = GPIO_PIN_6;
  GPIO_InitStruct.Mode = GPIO_MODE_OUTPUT_PP;
  GPIO_InitStruct.Pull = GPIO_NOPULL;
  GPIO_InitStruct.Speed = GPIO_SPEED_FREQ_HIGH;
  HAL_GPIO_Init(GPIOB, &GPIO_InitStruct);

}

void _Error_Handler(char *file, int line)
{
  while(1)
  {
  }
}

/************************ (C) COPYRIGHT STMicroelectronics *****END OF FILE****/
